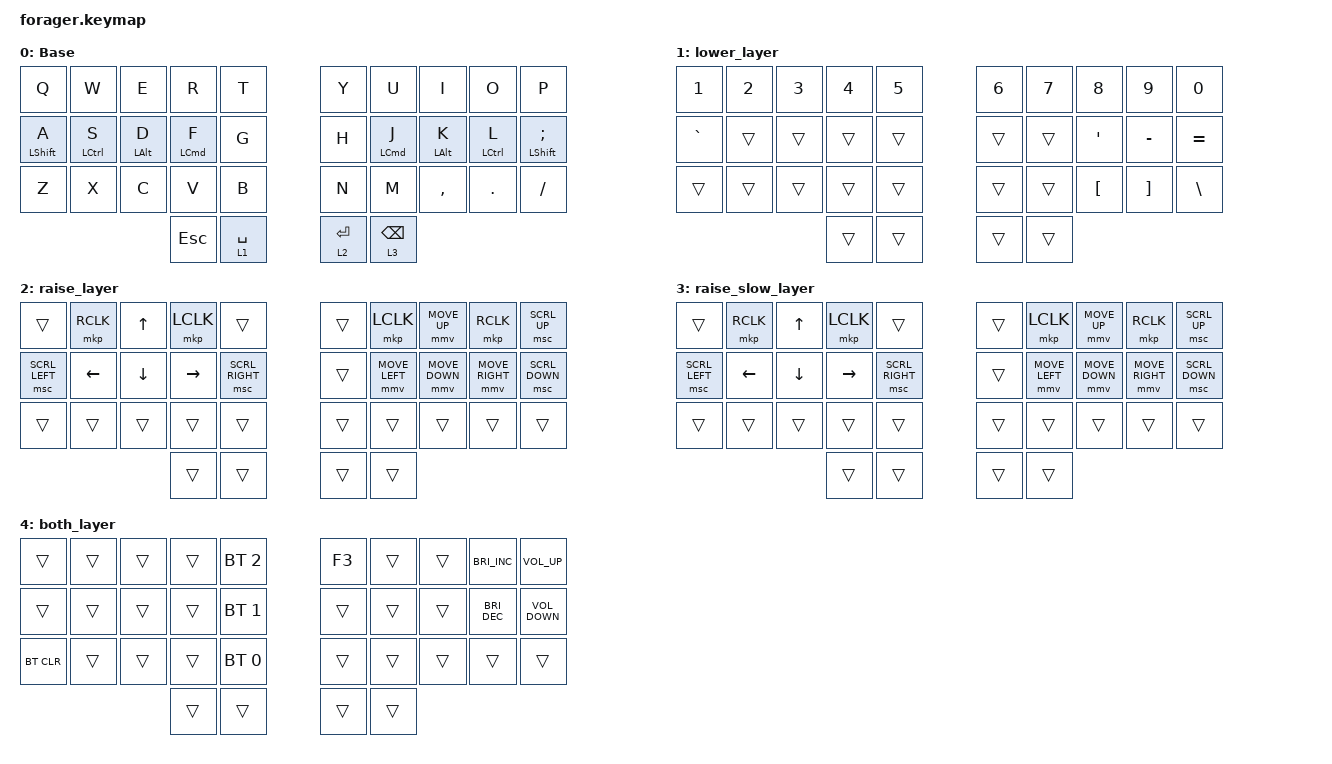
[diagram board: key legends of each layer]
#define ZMK_POINTING_DEFAULT_MOVE_VAL 1100  // default: 600
#define ZMK_POINTING_DEFAULT_SCRL_VAL 50    // default: 10

#include <behaviors.dtsi>
#include <input/processors.dtsi>
#include <dt-bindings/zmk/bt.h>
#include <dt-bindings/zmk/keys.h>
#include <dt-bindings/zmk/pointing.h>

/*
 * Copyright (c) 2020 The ZMK Contributors
 *
 * SPDX-License-Identifier: MIT
 */

&mmv { time-to-max-speed-ms = <50>; };

&mmv_input_listener {
    set_mouse_slow {
        layers = <3>;
        input-processors = <&zip_xy_scaler 1 5>;
    };
};

/ {
    behaviors {
        hml: hml {
            compatible = "zmk,behavior-hold-tap";
            #binding-cells = <2>;
            flavor = "hold-preferred";
            tapping-term-ms = <200>;
            bindings = <&kp>, <&kp>;

            hold-trigger-key-positions = <5 6 7 8 9 15 16 17 18 19 25 26 27 28 29 32 33 30 31>;
            label = "HML";
        };

        hmr: hmr {
            compatible = "zmk,behavior-hold-tap";
            #binding-cells = <2>;
            flavor = "hold-preferred";
            tapping-term-ms = <200>;
            bindings = <&kp>, <&kp>;

            hold-trigger-key-positions = <0 1 2 3 4 10 11 12 13 14 20 21 22 23 24 30 31 32 33>;
            label = "HMR";
        };

        hold_tap: hold_tap {
            compatible = "zmk,behavior-hold-tap";
            label = "HOLD_TAP";
            bindings = <&kp>, <&kp>;

            #binding-cells = <2>;
            tapping-term-ms = <200>;
            hold-trigger-key-positions = <0 1 2 3 4 11 12 13 14 21 22 23 24 10 20 30 31 32 33 5 6 8 9 15 16 17 18 19 25 26 27 28 29 7>;
        };

        hold_tap_layer: hold_tap_layer {
            compatible = "zmk,behavior-hold-tap";
            label = "HOLD_TAP_LAYER";
            bindings = <&mo>, <&kp>;

            #binding-cells = <2>;
            tapping-term-ms = <200>;
            hold-trigger-key-positions = <0 1 3 4 5 6 8 9 10 11 12 13 14 15 16 17 18 19 20 21 22 23 24 25 26 27 28 29 30 31 32 33>;
        };
    };

    combos {
        compatible = "zmk,combos";

        def-ui-to-tab {
            bindings = <&kp TAB>;
            key-positions = <10 11>;
            layers = <0>;
        };
    };

keymap {
        compatible = "zmk,keymap";

        default_layer {
            label = "Base";
            bindings = <
  &kp Q         &kp W                &kp E        &kp R        &kp T                      &kp Y                    &kp U          &kp I        &kp O                &kp P
  &hml LSHFT A  &hml LEFT_CONTROL S  &hml LALT D  &hml LCMD F  &kp G                      &kp H                    &hmr LCMD J    &hmr LALT K  &hmr LEFT_CONTROL L  &hmr LSHFT SEMICOLON
  &kp Z         &kp X                &kp C        &kp V        &kp B                      &kp N                    &kp M          &kp COMMA    &kp DOT              &kp SLASH
                                                  &kp ESCAPE   &hold_tap_layer 1 SPACE    &hold_tap_layer 2 ENTER  &hold_tap_layer 3 BACKSPACE
            >;
        };

        lower_layer {
            bindings = <
  &kp N1     &kp N2  &kp N3  &kp N4  &kp N5    &kp N6  &kp N7  &kp N8            &kp N9             &kp N0
  &kp GRAVE  &trans  &trans  &trans  &trans    &trans  &trans  &kp SINGLE_QUOTE  &kp MINUS          &kp EQUAL
  &trans     &trans  &trans  &trans  &trans    &trans  &trans  &kp LEFT_BRACKET  &kp RIGHT_BRACKET  &kp BACKSLASH
                             &trans  &trans    &trans  &trans
            >;
        };

        raise_layer {
            bindings = <
  &trans          &mkp RCLK  &kp UP_ARROW    &mkp LCLK  &trans             &trans  &mkp LCLK       &mmv MOVE_UP    &mkp RCLK        &msc SCRL_UP
  &msc SCRL_LEFT  &kp LEFT   &kp DOWN_ARROW  &kp RIGHT  &msc SCRL_RIGHT    &trans  &mmv MOVE_LEFT  &mmv MOVE_DOWN  &mmv MOVE_RIGHT  &msc SCRL_DOWN
  &trans          &trans     &trans          &trans     &trans             &trans  &trans          &trans          &trans           &trans
                                             &trans     &trans             &trans  &trans
            >;
        };

        raise_slow_layer {
            bindings = <
  &trans          &mkp RCLK  &kp UP_ARROW    &mkp LCLK  &trans             &trans  &mkp LCLK       &mmv MOVE_UP    &mkp RCLK        &msc SCRL_UP
  &msc SCRL_LEFT  &kp LEFT   &kp DOWN_ARROW  &kp RIGHT  &msc SCRL_RIGHT    &trans  &mmv MOVE_LEFT  &mmv MOVE_DOWN  &mmv MOVE_RIGHT  &msc SCRL_DOWN
  &trans          &trans     &trans          &trans     &trans             &trans  &trans          &trans          &trans           &trans
                                             &trans     &trans             &trans  &trans
            >;
        };


        both_layer {
            bindings = <
  &trans      &trans  &trans  &trans  &bt BT_SEL 2    &kp F3  &trans  &trans  &kp C_BRIGHTNESS_INC  &kp C_VOLUME_UP
  &trans      &trans  &trans  &trans  &bt BT_SEL 1    &trans  &trans  &trans  &kp C_BRIGHTNESS_DEC  &kp C_VOLUME_DOWN
  &bt BT_CLR  &trans  &trans  &trans  &bt BT_SEL 0    &trans  &trans  &trans  &trans                &trans
                              &trans  &trans          &trans  &trans
            >;
        };
    };

    conditional_layers {
        compatible = "zmk,conditional-layers";

        both {
            if-layers = <1 2>;
            then-layer = <4>;
        };
    };
};
